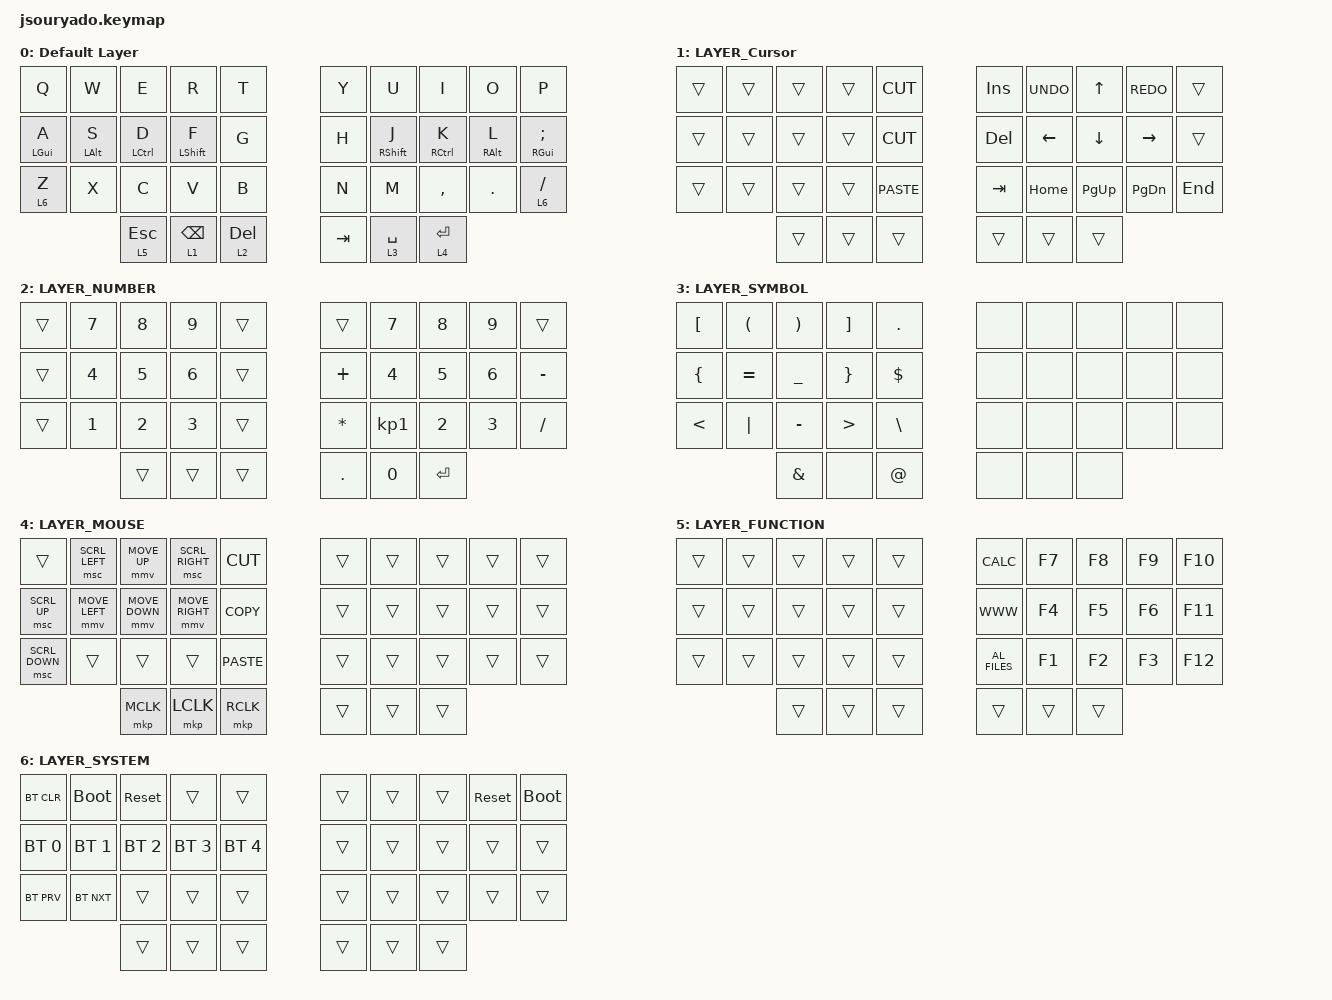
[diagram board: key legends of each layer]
extqtz/*
 * Copyright (c) 2020 The ZMK Contributors
 *
 * SPDX-License-Identifier: MIT
 */

#include <behaviors.dtsi>
#include <dt-bindings/zmk/bt.h>
#include <dt-bindings/zmk/keys.h>
#include <dt-bindings/zmk/pointing.h>

/ {
    behaviors {
        hm: hm {
            compatible = "zmk,behavior-hold-tap";
            label = "HM";
            bindings = <&kp>, <&kp>;

            #binding-cells = <2>;
            tapping-term-ms = <200>;
            flavor = "tap-preferred";
            quick-tap-ms = <0>;
        };
    };

    keymap {
        compatible = "zmk,keymap";

        LAYER_QWERTY {
            display-name = "Default Layer";

            // -----------------------------------------------------------------------------------------
            // |  Q  |  W  |  E  |  R  |  T  |   |  Y  |  U   |  I  |  O  |  P  |
            // |  A  |  S  |  D  |  F  |  G  |   |  H  |  J   |  K  |  L  |  ;  |
            // |  Z  |  X  |  C  |  V  |  B  |   |  N  |  M   |  ,  |  .  |  /  |
            //            | BSPC | LWR | ESC |   | TAB | SPC  | ENT |

            bindings = <
&kp Q           &kp W           &kp E        &kp R             &kp T        &kp Y    &kp U              &kp I        &kp O            &kp P
&hm LEFT_GUI A  &hm LEFT_ALT S  &hm LCTRL D  &hm LEFT_SHIFT F  &kp G        &kp H    &hm RIGHT_SHIFT J  &hm RCTRL K  &hm RIGHT_ALT L  &hm RIGHT_GUI SEMICOLON
&lt 6 Z         &kp X           &kp C        &kp V             &kp B        &kp N    &kp M              &kp COMMA    &kp DOT          &lt 6 FSLH
                                &lt 5 ESC    &lt 1 BACKSPACE   &lt 2 DEL    &kp TAB  &lt 3 SPACE        &lt 4 ENTER
            >;
        };

        LAYER_Cursor {
            bindings = <
&trans  &trans  &trans  &trans  &kp K_CUT      &kp INSERT  &kp K_UNDO  &kp UP       &kp K_REDO     &trans
&trans  &trans  &trans  &trans  &kp K_CUT      &kp DELETE  &kp LEFT    &kp DOWN     &kp RIGHT      &trans
&trans  &trans  &trans  &trans  &kp K_PASTE    &kp TAB     &kp HOME    &kp PAGE_UP  &kp PAGE_DOWN  &kp END
                &trans  &trans  &trans         &trans      &trans      &trans
            >;
        };

        LAYER_NUMBER {
            bindings = <
&trans  &kp N7        &kp N8        &kp N9        &trans    &trans     &kp N7           &kp N8     &kp N9  &trans
&trans  &kp NUMBER_4  &kp N5        &kp NUMBER_6  &trans    &kp PLUS   &kp N4           &kp N5     &kp N6  &kp MINUS
&trans  &kp NUMBER_1  &kp NUMBER_2  &kp NUMBER_3  &trans    &kp ASTRK  &kp KP_NUMBER_1  &kp N2     &kp N3  &kp FSLH
                      &trans        &trans        &trans    &kp DOT    &kp N0           &kp ENTER
            >;
        };

        LAYER_SYMBOL {
            bindings = <
&kp LBKT        &kp LEFT_PARENTHESIS  &kp RIGHT_PARENTHESIS  &kp RBKT          &kp PERIOD       &none  &none  &none  &none  &none
&kp LEFT_BRACE  &kp EQUAL             &kp UNDER              &kp RIGHT_BRACE   &kp DOLLAR       &none  &none  &none  &none  &none
&kp LESS_THAN   &kp PIPE              &kp MINUS              &kp GREATER_THAN  &kp BACKSLASH    &none  &none  &none  &none  &none
                                      &kp AMPS               &none             &kp AT           &none  &none  &none
            >;
        };

        LAYER_MOUSE {
            bindings = <
&trans          &msc SCRL_LEFT  &mmv MOVE_UP    &msc SCRL_RIGHT  &kp K_CUT      &trans  &trans  &trans  &trans  &trans
&msc SCRL_UP    &mmv MOVE_LEFT  &mmv MOVE_DOWN  &mmv MOVE_RIGHT  &kp K_COPY     &trans  &trans  &trans  &trans  &trans
&msc SCRL_DOWN  &trans          &trans          &trans           &kp K_PASTE    &trans  &trans  &trans  &trans  &trans
                                &mkp MCLK       &mkp LCLK        &mkp RCLK      &trans  &trans  &trans
            >;
        };

        LAYER_FUNCTION {
            bindings = <
&trans  &trans  &trans  &trans  &trans    &kp K_CALC      &kp F7  &kp F8  &kp F9  &kp F10
&trans  &trans  &trans  &trans  &trans    &kp K_WWW       &kp F4  &kp F5  &kp F6  &kp F11
&trans  &trans  &trans  &trans  &trans    &kp C_AL_FILES  &kp F1  &kp F2  &kp F3  &kp F12
                &trans  &trans  &trans    &trans          &trans  &trans
            >;
        };

        LAYER_SYSTEM {
            bindings = <
&bt BT_CLR    &bootloader   &sys_reset    &trans        &trans          &trans  &trans  &trans  &sys_reset  &bootloader
&bt BT_SEL 0  &bt BT_SEL 1  &bt BT_SEL 2  &bt BT_SEL 3  &bt BT_SEL 4    &trans  &trans  &trans  &trans      &trans
&bt BT_PRV    &bt BT_NXT    &trans        &trans        &trans          &trans  &trans  &trans  &trans      &trans
                            &trans        &trans        &trans          &trans  &trans  &trans
            >;
        };
    };
};
